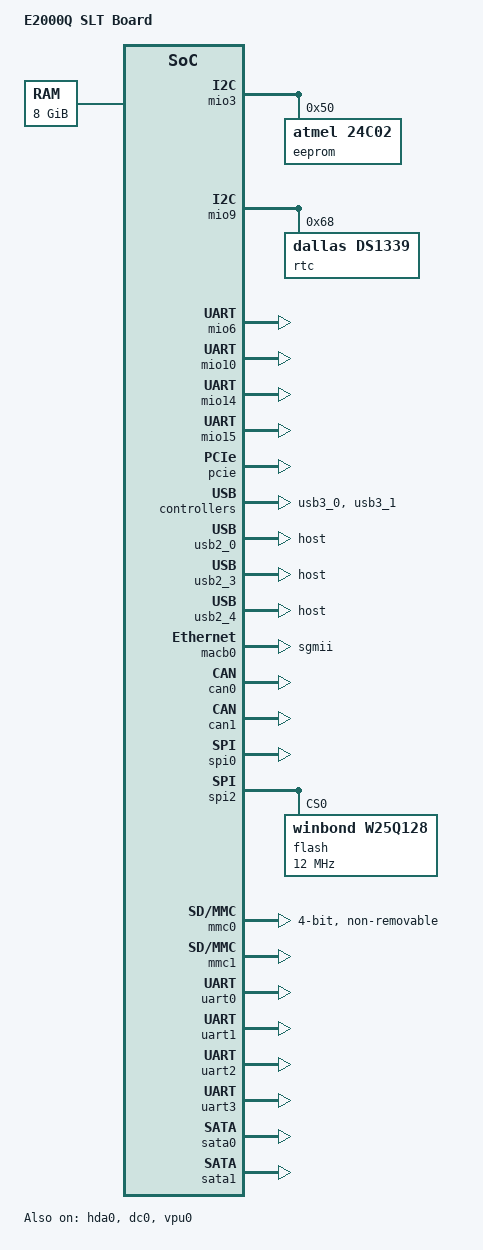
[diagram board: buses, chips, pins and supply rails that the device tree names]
// SPDX-License-Identifier: GPL-2.0
/*
 * DTS file for Phytium E2000Q come board
 *
 * Copyright (C) 2022, Phytium Technology Co., Ltd.
 *
 * Hongmin Qi <qihongmin@phytium.com.cn>
 */

/dts-v1/;
/memreserve/ 0x80000000 0x10000;

#include "e2000q.dtsi"

/{
	model = "E2000Q SLT Board";
	compatible = "phytium,e2000q";

	chosen {
		stdout-path = "serial1:115200n8";
	};

	memory@00{
		device_type = "memory";
		reg = <0x0 0x80000000 0x2 0x00000000>;
	};
};

&soc {
	mio3: i2c@2801a000 {
		status = "okay";
		compatible = "phytium,i2c";
		reg = <0x0 0x2801a000 0x0 0x1000>;
		interrupts = <GIC_SPI 95 IRQ_TYPE_LEVEL_HIGH>;
		clocks = <&sysclk_50mhz>;
		#address-cells = <1>;
		#size-cells = <0>;

		eeprom@50 {
			compatible = "atmel,24c02";
			reg = <0x50>;
			pagesize = <1>;
		};
	};

	mio9: i2c@28026000 {
		compatible = "phytium,i2c";
		reg = <0x0 0x28026000 0x0 0x1000>;
		interrupts = <GIC_SPI 101 IRQ_TYPE_LEVEL_HIGH>;
		clocks = <&sysclk_50mhz>;
		#address-cells = <1>;
		#size-cells = <0>;
		status = "okay";

		rtc@68 {
			compatible = "dallas,ds1339";
			reg = <0x68>;
		};
	};

	mio6: uart@28020000 {
		compatible = "arm,pl011", "arm,primecell";
		reg = <0x0 0x28020000 0x0 0x1000>;
		interrupts = <0x0 0x62 0x4>;
		clocks = <&sysclk_50mhz &sysclk_50mhz>;
		clock-names = "uartclk", "apb_pclk";
		status = "okay";
	};

	mio10: uart@28028000 {
		compatible = "arm,pl011", "arm,primecell";
		reg = <0x0 0x28028000 0x0 0x1000>;
		interrupts = <0x0 0x66 0x4>;
		clocks = <&sysclk_50mhz &sysclk_50mhz>;
		clock-names = "uartclk", "apb_pclk";
		status = "okay";
	};

	mio14: uart@28030000 {
		compatible = "arm,pl011", "arm,primecell";
		reg = <0x0 0x28030000 0x0 0x1000>;
		interrupts = <0x0 0x6a 0x4>;
		clocks = <&sysclk_50mhz &sysclk_50mhz>;
		clock-names = "uartclk", "apb_pclk";
		status = "okay";
	};

	mio15: uart@28032000 {
		compatible = "arm,pl011", "arm,primecell";
		reg = <0x0 0x28032000 0x0 0x1000>;
		interrupts = <0x0 0x6b 0x4>;
		clocks = <&sysclk_50mhz &sysclk_50mhz>;
		clock-names = "uartclk", "apb_pclk";
		status = "okay";
	};
};

&pcie {
	status = "okay";
};

&usb3_0 {
	status = "okay";
};

&usb3_1 {
	status = "okay";
};

&usb2_0 {
	dr_mode = "host";
	status = "okay";
};

&usb2_3 {
	dr_mode = "host";
	status = "okay";
};

&usb2_4 {
	dr_mode = "host";
	status = "okay";
};

&macb0 {
	phy-mode = "sgmii";
	use-mii;
	status = "okay";
};

&macb1 {
	phy-mode = "sgmii";
	use-mii;
	status = "disabled";
};

&macb2 {
	phy-mode = "rgmii";
	use-mii;
	status = "disabled";
};

&macb3 {
	phy-mode = "rgmii";
	use-mii;
	status = "disabled";
};

&can0 {
	status = "okay";
};

&can1 {
	status = "okay";
};

&spi0 {
	status = "okay";
};

&spi2 {
	global-cs = <1>;
	status = "okay";

	flash: w25q128@0 {
		compatible = "winbond,w25q128", "jedec,spi-nor";
		spi-max-frequency = <12000000>;
		reg = <0>;
	};
};

&mmc0 {
	bus-width = <4>;
	max-frequency = <25000000>;
	cap-mmc-hw-reset;
	cap-mmc-highspeed;
	no-sdio;
	no-sd;
	non-removable;
	status = "okay";
};

&mmc1 {
	status = "okay";
};

&uart0 {
	status = "okay";
};

&uart1 {
	status = "okay";
};

&uart2 {
	status = "okay";
};

&uart3 {
	status = "okay";
};

&sata0 {
	status = "okay";
};

&sata1 {
	status = "okay";
};

&hda0 {
	status = "okay";
};

&dc0 {
	interrupts = <0x00 0x2c 0x04>;
	status = "okay";
	pipe_mask = /bits/ 8 <0x3>;
	edp_mask = /bits/ 8 <0x0>;
};

&gpio0 {
	status = "okay";
};

&gpio1 {
	status = "okay";
};

&gpio2 {
	status = "okay";
};

&gpio3 {
	status = "okay";
};

&gpio4 {
	status = "okay";
};

&gpio5 {
	status = "okay";
};

&vpu0 {
    status = "okay";
};
